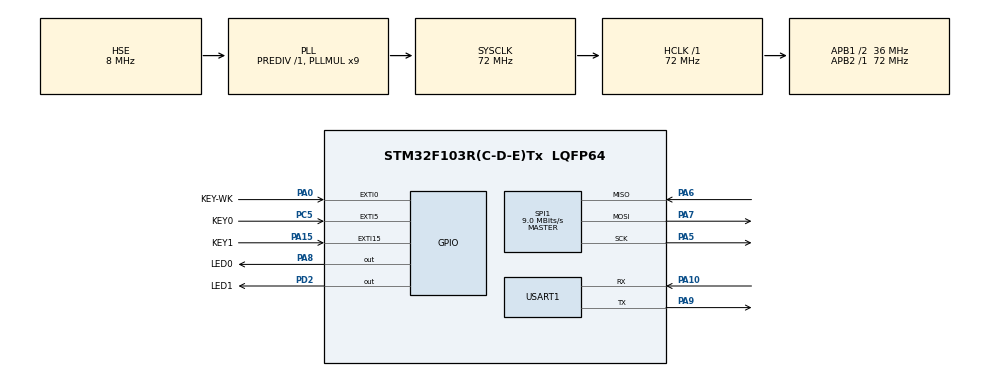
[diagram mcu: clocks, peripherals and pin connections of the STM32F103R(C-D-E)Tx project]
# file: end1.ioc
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Mcu.Family=STM32F1
Mcu.Name=STM32F103R(C-D-E)Tx
Mcu.Package=LQFP64
NVIC.EXTI0_IRQn=true\:1\:0\:true\:false\:true\:true\:true\:true
NVIC.EXTI15_10_IRQn=true\:1\:0\:true\:false\:true\:true\:true\:true
NVIC.EXTI9_5_IRQn=true\:1\:0\:true\:false\:true\:true\:true\:true
NVIC.PriorityGroup=NVIC_PRIORITYGROUP_2
NVIC.SPI1_IRQn=true\:1\:0\:true\:false\:true\:true\:true\:true
NVIC.TIM3_IRQn=true\:1\:0\:true\:false\:true\:true\:true\:true
NVIC.USART1_IRQn=true\:1\:0\:true\:false\:true\:true\:true\:true
PA0-WKUP.GPIO_Label=KEY-WK
PA0-WKUP.GPIO_PuPd=GPIO_PULLDOWN
PA0-WKUP.Signal=GPXTI0
PA10.Mode=Asynchronous
PA10.Signal=USART1_RX
PA13.Mode=Serial_Wire
PA13.Signal=SYS_JTMS-SWDIO
PA14.Mode=Serial_Wire
PA14.Signal=SYS_JTCK-SWCLK
PA15.GPIO_Label=KEY1
PA15.GPIO_PuPd=GPIO_PULLUP
PA15.Signal=GPXTI15
PA5.Mode=Full_Duplex_Master
PA5.Signal=SPI1_SCK
PA6.Mode=Full_Duplex_Master
PA6.Signal=SPI1_MISO
PA7.Mode=Full_Duplex_Master
PA7.Signal=SPI1_MOSI
PA8.GPIO_Label=LED0
PA8.Signal=GPIO_Output
PA9.Mode=Asynchronous
PA9.Signal=USART1_TX
PC14-OSC32_IN.Mode=LSE-External-Oscillator
PC14-OSC32_IN.Signal=RCC_OSC32_IN
PC15-OSC32_OUT.Mode=LSE-External-Oscillator
PC15-OSC32_OUT.Signal=RCC_OSC32_OUT
PC5.GPIO_Label=KEY0
PC5.GPIO_PuPd=GPIO_PULLUP
PC5.Signal=GPXTI5
PD0-OSC_IN.Mode=HSE-External-Oscillator
PD0-OSC_IN.Signal=RCC_OSC_IN
PD1-OSC_OUT.Mode=HSE-External-Oscillator
PD1-OSC_OUT.Signal=RCC_OSC_OUT
PD2.GPIO_Label=LED1
PD2.Signal=GPIO_Output
ProjectManager.HeapSize=0x200
ProjectManager.StackSize=0x400
ProjectManager.TargetToolchain=STM32CubeIDE
RCC.AHBFreq_Value=72000000
RCC.APB1CLKDivider=RCC_HCLK_DIV2
RCC.APB1Freq_Value=36000000
RCC.APB1TimFreq_Value=72000000
RCC.APB2Freq_Value=72000000
RCC.APB2TimFreq_Value=72000000
RCC.HCLKFreq_Value=72000000
RCC.PLLMUL=RCC_PLL_MUL9
RCC.PLLSourceVirtual=RCC_PLLSOURCE_HSE
RCC.RTCClockSelection=RCC_RTCCLKSOURCE_LSE
RCC.SYSCLKFreq_VALUE=72000000
RCC.SYSCLKSource=RCC_SYSCLKSOURCE_PLLCLK
RCC.USBFreq_Value=72000000
RTC.Month=RTC_MONTH_DECEMBER
RTC.Year=23
SPI1.BaudRatePrescaler=SPI_BAUDRATEPRESCALER_8
SPI1.CalculateBaudRate=9.0 MBits/s
SPI1.Direction=SPI_DIRECTION_2LINES
SPI1.Mode=SPI_MODE_MASTER
SPI1.VirtualType=VM_MASTER
TIM3.Period=9999
TIM3.Prescaler=7199
USART1.VirtualMode=VM_ASYNC
VP_RTC_No_RTC_Output.Mode=RTC_OUT_NO
VP_RTC_VS_RTC_Activate.Mode=RTC_Enabled
VP_RTC_VS_RTC_Calendar.Mode=RTC_Calendar
VP_TIM3_VS_ClockSourceINT.Mode=Internal
board=custom

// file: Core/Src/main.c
/* USER CODE BEGIN Header */
/**
 ******************************************************************************
 * @file           : main.c
 * @brief          : Main program body
 ******************************************************************************
 * @attention
 *
 * Copyright (c) 2023 STMicroelectronics.
 * All rights reserved.
 *
 * This software is licensed under terms that can be found in the LICENSE file
 * in the root directory of this software component.
 * If no LICENSE file comes with this software, it is provided AS-IS.
 *
 ******************************************************************************
 */
/* USER CODE END Header */
#include "main.h"

/* USER CODE BEGIN Includes */
// Project driver
#include "sys.h"
#include "delay.h"
#include "led.h"
#include "key.h"
#include "lcd.h"
#include "rtc.h"
#include "24l01.h"
#include "string.h"
#include "stdio.h"
#include "touch.h"

// Project file
#include "app.h"
#include "chat.h"
#include "cal.h"
/* USER CODE END Includes */

RTC_HandleTypeDef hrtc;

SPI_HandleTypeDef hspi1;

TIM_HandleTypeDef htim3;

UART_HandleTypeDef huart1;

/* USER CODE BEGIN PV */
int username = 0, timeset = 0;

/*
 * -1 -> 上电初始�?
 *  0 -> 主页
 *  1 -> 菜单
 *  2 -> 私聊选人
 *  3 -> 聊天页面
 *  4 -> 计算�?
 *  5 -> 相册
 *  6 -> 被邀请聊天弹�?
 *  7 -> 邀请他人
 *  8 -> 小游戏
 */
int app_mode = -1;
int prev_mode = -1;
/* USER CODE END PV */

void SystemClock_Config(void);
static void MX_GPIO_Init(void);
static void MX_SPI1_Init(void);
static void MX_USART1_UART_Init(void);
static void MX_TIM3_Init(void);
static void MX_RTC_Init(void);

/* USER CODE BEGIN 0 */
extern UART_HandleTypeDef huart1;
extern uint8_t rxBuffer[20];

/* USER CODE END 0 */

int main(void)
{

  /* MCU Configuration--------------------------------------------------------*/

  /* Reset of all peripherals, Initializes the Flash interface and the Systick. */
  HAL_Init();

  /* USER CODE BEGIN Init */
  Stm32_Clock_Init(RCC_PLL_MUL9); // 设置时钟,72M
  delay_init(72);                 // 初始化延时函�??????
  // uart_init(115200);					//初始化串�??????
  LED_Init();      // 初始化LED
  KEY_Init();      // 初始化按�??????
  LCD_Init();      // 初始化LCD
  NRF24L01_Init(); // 初始化NRF24L01
  tp_dev.init();   // 触摸屏初始化
  /* USER CODE END Init */

  /* Configure the system clock */
  SystemClock_Config();

  /* Initialize all configured peripherals */
  MX_GPIO_Init();
  MX_SPI1_Init();
  MX_USART1_UART_Init();
  MX_TIM3_Init();
  MX_RTC_Init();
  /* USER CODE BEGIN 2 */
  HAL_UART_Receive_IT(&huart1, (uint8_t *)rxBuffer, 1);

  POINT_COLOR = RED;
  LCD_ShowString(30, 50, 200, 16, 16, (u8 *)"Mini STM32");
  LCD_ShowString(30, 70, 200, 16, 16, (u8 *)"Smartwatch");
  LCD_ShowString(30, 90, 200, 16, 16, (u8 *)"OOAD Project");
  LCD_ShowString(30, 110, 200, 16, 16, (u8 *)"2023/12/29");
  while (NRF24L01_Check())
  {
    LCD_ShowString(30, 130, 200, 16, 16, (u8 *)"NRF24L01 Error");
    delay_ms(200);
    LCD_Fill(30, 130, 239, 130 + 16, WHITE);
    delay_ms(200);
  }
  LCD_ShowString(30, 130, 200, 16, 16, (u8 *)"NRF24L01 OK");
  while (RTC_Init()) // RTC初始�????,�????定要初始化成�????
  {
    LCD_ShowString(30, 150, 200, 16, 16, (u8 *)"RTC ERROR!   ");
    delay_ms(800);
    LCD_ShowString(30, 150, 200, 16, 16, (u8 *)"RTC Trying...");
  }
  LCD_ShowString(30, 150, 200, 16, 16, (u8 *)"RTC OK       ");
  delay_ms(500);
  // 程序初始化完�???

  // 用户初始化设�???
  // LCD_ShowString(30, 170, 200, 16, 16, (u8 *)"Please input in UART");
  //    HAL_UART_Transmit(&huart1, (uint8_t *)"Please enter your username:\n", 29, HAL_MAX_DELAY);
  //    while (username == 0)
  //    {
  //      delay_ms(10);
  //    }
  //    if (HAL_RTCEx_BKUPRead(&hrtc, RTC_BKP_DR1) != 0X5050) // 是否第一次配�?
  //    {
  //      HAL_UART_Transmit(&huart1, (uint8_t *)"Please enter the time IN yy/mm/dd/hh/mm/ss:\n", 45, HAL_MAX_DELAY);
  //    }
  //    else
  //    {
  //      timeset = 1;
  //    }
  //    while (timeset == 0)
  //    {
  //      delay_ms(10);
  //    }

  LCD_ShowString(30, 170, 200, 16, 16, (u8 *)"Please select username:");

  // 选择用户 1 2 3 在屏幕下方从0,200 开始 从左到右放三个矩形 代表1 2 3
  LCD_DrawRectangle(0, 200, 80, 320);
  LCD_DrawRectangle(80, 200, 160, 320);
  LCD_DrawRectangle(160, 200, 240, 320);

  LCD_ShowString(20, 240, 80, 16, 16, (u8 *)"1");
  LCD_ShowString(100, 240, 80, 16, 16, (u8 *)"2");
  LCD_ShowString(180, 240, 80, 16, 16, (u8 *)"3");

  RTC_Get();
  while (1)
  {
    tp_dev.scan(0);
    if (!(tp_dev.sta & TP_PRES_DOWN))
      delay_ms(10);
    if (!(tp_dev.x[0] < lcddev.width && tp_dev.y[0] < lcddev.height))
      delay_ms(10);
    if (tp_dev.x[0] < 80 && tp_dev.y[0] > 200 && tp_dev.y[0] < 320)
    {
      user_id = 1;
      break;
    }
    if (tp_dev.x[0] < 160 && tp_dev.x[0] > 80 && tp_dev.y[0] > 200 && tp_dev.y[0] < 320)
    {
      user_id = 2;
      break;
    }
    if (tp_dev.x[0] < 240 && tp_dev.x[0] > 160 && tp_dev.y[0] > 200 && tp_dev.y[0] < 320)
    {
      user_id = 3;
      break;
    }
  }

  /* USER CODE END 2 */

  /* Infinite loop */
  /* USER CODE BEGIN WHILE */

  // test
  // user_id = 1;
//  char message[] = "hello";
//  memcpy(hist_msg[1][0].msg, message, sizeof(message));
//  hist_msg[1][0].sender = 1;
//  char message2[] = "hellos";
//  memcpy(hist_msg[1][1].msg, message2, sizeof(message2));
//  hist_msg[1][1].sender = 2;
//  char message3[] = "hellosk111111111111111";
//  memcpy(hist_msg[1][2].msg, message3, sizeof(message3));
//  hist_msg[1][2].sender = 1;
//  char message4[] = "hellosk2";
//  memcpy(hist_msg[1][3].msg, message4, sizeof(message3));
//  hist_msg[1][3].sender = 2;
//  char message5[] = "hellosk3";
//  memcpy(hist_msg[1][4].msg, message5, sizeof(message3));
//  hist_msg[1][4].sender = 1;
//  msg_num[1] = 5;
//  LCD_ShowString(30, 170, 200, 16, 16, hist_msg[1][0].msg);
//  delay_ms(2000);
  // test

  LED0 = 1;
  LED1 = 1;
  app_mode = 0;
  screen_clear();
  screen_reprint();

  send_online();

  while (1)
  {
    delay_ms(10);
    if (prev_mode != app_mode && app_mode != 6 && app_mode != 7)
    {
      screen_clear();
      screen_reprint();
      prev_mode = app_mode;
    }

    // 右上角打印app_mode
//    LCD_ShowNum(220, 0, msg_num[1], 2, 16);

    // ui绘制以及触屏逻辑
    app_ui();
    app_touch();
    try_receive_message();
    /* USER CODE END WHILE */

  }
}

void SystemClock_Config(void)
{
  RCC_OscInitTypeDef RCC_OscInitStruct = {0};
  RCC_ClkInitTypeDef RCC_ClkInitStruct = {0};
  RCC_PeriphCLKInitTypeDef PeriphClkInit = {0};

  /** Initializes the RCC Oscillators according to the specified parameters
   * in the RCC_OscInitTypeDef structure.
   */
  RCC_OscInitStruct.OscillatorType = RCC_OSCILLATORTYPE_HSE | RCC_OSCILLATORTYPE_LSE;
  RCC_OscInitStruct.HSEState = RCC_HSE_ON;
  RCC_OscInitStruct.HSEPredivValue = RCC_HSE_PREDIV_DIV1;
  RCC_OscInitStruct.LSEState = RCC_LSE_ON;
  RCC_OscInitStruct.HSIState = RCC_HSI_ON;
  RCC_OscInitStruct.PLL.PLLState = RCC_PLL_ON;
  RCC_OscInitStruct.PLL.PLLSource = RCC_PLLSOURCE_HSE;
  RCC_OscInitStruct.PLL.PLLMUL = RCC_PLL_MUL9;
  if (HAL_RCC_OscConfig(&RCC_OscInitStruct) != HAL_OK)
  {
    Error_Handler();
  }

  /** Initializes the CPU, AHB and APB buses clocks
   */
  RCC_ClkInitStruct.ClockType = RCC_CLOCKTYPE_HCLK | RCC_CLOCKTYPE_SYSCLK | RCC_CLOCKTYPE_PCLK1 | RCC_CLOCKTYPE_PCLK2;
  RCC_ClkInitStruct.SYSCLKSource = RCC_SYSCLKSOURCE_PLLCLK;
  RCC_ClkInitStruct.AHBCLKDivider = RCC_SYSCLK_DIV1;
  RCC_ClkInitStruct.APB1CLKDivider = RCC_HCLK_DIV2;
  RCC_ClkInitStruct.APB2CLKDivider = RCC_HCLK_DIV1;

  if (HAL_RCC_ClockConfig(&RCC_ClkInitStruct, FLASH_LATENCY_2) != HAL_OK)
  {
    Error_Handler();
  }
  PeriphClkInit.PeriphClockSelection = RCC_PERIPHCLK_RTC;
  PeriphClkInit.RTCClockSelection = RCC_RTCCLKSOURCE_LSE;
  if (HAL_RCCEx_PeriphCLKConfig(&PeriphClkInit) != HAL_OK)
  {
    Error_Handler();
  }
}

static void MX_RTC_Init(void)
{

  RTC_TimeTypeDef sTime = {0};
  RTC_DateTypeDef DateToUpdate = {0};

  /* USER CODE BEGIN RTC_Init 1 */
  __HAL_RCC_BKP_CLK_ENABLE(); // �?启后备区域时�?
  __HAL_RCC_PWR_CLK_ENABLE(); // 使能电源时钟PWR
  HAL_PWR_EnableBkUpAccess(); // 取消备份区域写保�?????
  /* USER CODE END RTC_Init 1 */

  /** Initialize RTC Only
   */
  hrtc.Instance = RTC;
  hrtc.Init.AsynchPrediv = RTC_AUTO_1_SECOND;
  hrtc.Init.OutPut = RTC_OUTPUTSOURCE_NONE;
  if (HAL_RTC_Init(&hrtc) != HAL_OK)
  {
    Error_Handler();
  }

  /* USER CODE BEGIN Check_RTC_BKUP */
  if (HAL_RTCEx_BKUPRead(&hrtc, RTC_BKP_DR1) != 0X5050) // 是否第一次配�?
  {

    /* USER CODE END Check_RTC_BKUP */

    /** Initialize RTC and set the Time and Date
     */
    sTime.Hours = 0x0;
    sTime.Minutes = 0x0;
    sTime.Seconds = 0x0;

    if (HAL_RTC_SetTime(&hrtc, &sTime, RTC_FORMAT_BCD) != HAL_OK)
    {
      Error_Handler();
    }
    DateToUpdate.WeekDay = RTC_WEEKDAY_MONDAY;
    DateToUpdate.Month = RTC_MONTH_DECEMBER;
    DateToUpdate.Date = 0x1;
    DateToUpdate.Year = 0x23;

    if (HAL_RTC_SetDate(&hrtc, &DateToUpdate, RTC_FORMAT_BCD) != HAL_OK)
    {
      Error_Handler();
    }
  }
}

static void MX_SPI1_Init(void)
{

  /* SPI1 parameter configuration*/
  hspi1.Instance = SPI1;
  hspi1.Init.Mode = SPI_MODE_MASTER;
  hspi1.Init.Direction = SPI_DIRECTION_2LINES;
  hspi1.Init.DataSize = SPI_DATASIZE_8BIT;
  hspi1.Init.CLKPolarity = SPI_POLARITY_LOW;
  hspi1.Init.CLKPhase = SPI_PHASE_1EDGE;
  hspi1.Init.NSS = SPI_NSS_SOFT;
  hspi1.Init.BaudRatePrescaler = SPI_BAUDRATEPRESCALER_8;
  hspi1.Init.FirstBit = SPI_FIRSTBIT_MSB;
  hspi1.Init.TIMode = SPI_TIMODE_DISABLE;
  hspi1.Init.CRCCalculation = SPI_CRCCALCULATION_DISABLE;
  hspi1.Init.CRCPolynomial = 10;
  if (HAL_SPI_Init(&hspi1) != HAL_OK)
  {
    Error_Handler();
  }
}

static void MX_TIM3_Init(void)
{

  TIM_ClockConfigTypeDef sClockSourceConfig = {0};
  TIM_MasterConfigTypeDef sMasterConfig = {0};

  htim3.Instance = TIM3;
  htim3.Init.Prescaler = 7199;
  htim3.Init.CounterMode = TIM_COUNTERMODE_UP;
  htim3.Init.Period = 9999;
  htim3.Init.ClockDivision = TIM_CLOCKDIVISION_DIV1;
  htim3.Init.AutoReloadPreload = TIM_AUTORELOAD_PRELOAD_DISABLE;
  if (HAL_TIM_Base_Init(&htim3) != HAL_OK)
  {
    Error_Handler();
  }
  sClockSourceConfig.ClockSource = TIM_CLOCKSOURCE_INTERNAL;
  if (HAL_TIM_ConfigClockSource(&htim3, &sClockSourceConfig) != HAL_OK)
  {
    Error_Handler();
  }
  sMasterConfig.MasterOutputTrigger = TIM_TRGO_RESET;
  sMasterConfig.MasterSlaveMode = TIM_MASTERSLAVEMODE_DISABLE;
  if (HAL_TIMEx_MasterConfigSynchronization(&htim3, &sMasterConfig) != HAL_OK)
  {
    Error_Handler();
  }
}

static void MX_USART1_UART_Init(void)
{

  huart1.Instance = USART1;
  huart1.Init.BaudRate = 115200;
  huart1.Init.WordLength = UART_WORDLENGTH_8B;
  huart1.Init.StopBits = UART_STOPBITS_1;
  huart1.Init.Parity = UART_PARITY_NONE;
  huart1.Init.Mode = UART_MODE_TX_RX;
  huart1.Init.HwFlowCtl = UART_HWCONTROL_NONE;
  huart1.Init.OverSampling = UART_OVERSAMPLING_16;
  if (HAL_UART_Init(&huart1) != HAL_OK)
  {
    Error_Handler();
  }
}

static void MX_GPIO_Init(void)
{
  GPIO_InitTypeDef GPIO_InitStruct = {0};

  /* GPIO Ports Clock Enable */
  __HAL_RCC_GPIOC_CLK_ENABLE();
  __HAL_RCC_GPIOD_CLK_ENABLE();
  __HAL_RCC_GPIOA_CLK_ENABLE();

  /*Configure GPIO pin Output Level */
  HAL_GPIO_WritePin(LED0_GPIO_Port, LED0_Pin, GPIO_PIN_RESET);

  /*Configure GPIO pin Output Level */
  HAL_GPIO_WritePin(LED1_GPIO_Port, LED1_Pin, GPIO_PIN_RESET);

  /*Configure GPIO pin : KEY_WK_Pin */
  GPIO_InitStruct.Pin = KEY_WK_Pin;
  GPIO_InitStruct.Mode = GPIO_MODE_IT_RISING;
  GPIO_InitStruct.Pull = GPIO_PULLDOWN;
  HAL_GPIO_Init(KEY_WK_GPIO_Port, &GPIO_InitStruct);

  /*Configure GPIO pin : KEY0_Pin */
  GPIO_InitStruct.Pin = KEY0_Pin;
  GPIO_InitStruct.Mode = GPIO_MODE_IT_RISING;
  GPIO_InitStruct.Pull = GPIO_PULLUP;
  HAL_GPIO_Init(KEY0_GPIO_Port, &GPIO_InitStruct);

  /*Configure GPIO pin : LED0_Pin */
  GPIO_InitStruct.Pin = LED0_Pin;
  GPIO_InitStruct.Mode = GPIO_MODE_OUTPUT_PP;
  GPIO_InitStruct.Pull = GPIO_NOPULL;
  GPIO_InitStruct.Speed = GPIO_SPEED_FREQ_LOW;
  HAL_GPIO_Init(LED0_GPIO_Port, &GPIO_InitStruct);

  /*Configure GPIO pin : KEY1_Pin */
  GPIO_InitStruct.Pin = KEY1_Pin;
  GPIO_InitStruct.Mode = GPIO_MODE_IT_RISING;
  GPIO_InitStruct.Pull = GPIO_PULLUP;
  HAL_GPIO_Init(KEY1_GPIO_Port, &GPIO_InitStruct);

  /*Configure GPIO pin : LED1_Pin */
  GPIO_InitStruct.Pin = LED1_Pin;
  GPIO_InitStruct.Mode = GPIO_MODE_OUTPUT_PP;
  GPIO_InitStruct.Pull = GPIO_NOPULL;
  GPIO_InitStruct.Speed = GPIO_SPEED_FREQ_LOW;
  HAL_GPIO_Init(LED1_GPIO_Port, &GPIO_InitStruct);

  /* EXTI interrupt init*/
  HAL_NVIC_SetPriority(EXTI0_IRQn, 1, 0);
  HAL_NVIC_EnableIRQ(EXTI0_IRQn);

  HAL_NVIC_SetPriority(EXTI9_5_IRQn, 1, 0);
  HAL_NVIC_EnableIRQ(EXTI9_5_IRQn);

  HAL_NVIC_SetPriority(EXTI15_10_IRQn, 1, 0);
  HAL_NVIC_EnableIRQ(EXTI15_10_IRQn);

}

void Error_Handler(void)
{
  __disable_irq();
  while (1)
  {
  }
}
